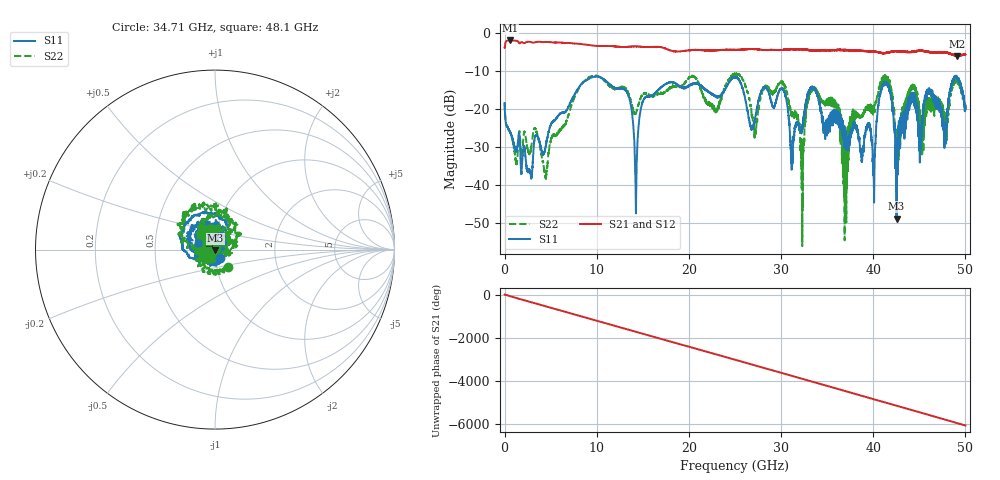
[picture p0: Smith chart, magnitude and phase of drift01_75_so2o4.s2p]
!Created with skrf (http://scikit-rf.org).
# Hz S RI R 50.0
!freq ReS11 ImS11 ReS21 ImS21 ReS12 ImS12 ReS22 ImS22
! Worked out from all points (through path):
!   10001 points, 300 kHz to 50 GHz, reference 50 ohm
!   highest |S21| = -2.00 dB at 570.3 MHz (marker M1); lowest = -6.0 dB at 49.1 GHz (marker M2)
!   group delay of S21, straight-line fit = 336 ps
!   lowest |S11| = -48.7 dB at 42.53 GHz (marker M3), VSWR 1.01, Z = 50.1 - j0.354 ohm
!   |S11| at or under -10 dB: start of sweep to end of sweep
!   |S22| runs from -56.0 to -10.6 dB; largest |S21 - S12| = 0.019
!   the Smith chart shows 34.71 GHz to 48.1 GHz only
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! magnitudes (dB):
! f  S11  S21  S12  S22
! 300 kHz  -18.5  -4.0  -4.0  -18.2
! 570.3 MHz  -25.9  -2.0  -2.0  -26.0
! 4.445 GHz  -29.9  -2.4  -2.4  -38.0
! 8.335 GHz  -13.5  -2.9  -3.0  -13.5
! 13.17 GHz  -15.2  -3.7  -3.7  -14.6
! 14.25 GHz  -47.4  -3.6  -3.5  -21.1
! 14.98 GHz  -18.1  -3.7  -3.7  -16.1
! 16.67 GHz  -14.9  -3.7  -3.7  -15.9
! 25 GHz  -11.5  -4.5  -4.5  -10.9
! 27.18 GHz  -22.2  -4.3  -4.3  -25.8
! 30.22 GHz  -14.8  -4.5  -4.5  -13.5
! 31.18 GHz  -34.1  -4.3  -4.3  -20.8
! 32.28 GHz  -25.3  -4.3  -4.3  -53.6
! 33.34 GHz  -14.2  -4.6  -4.6  -15.0
! 36.99 GHz  -30.3  -4.5  -4.4  -31.7
! 40.05 GHz  -37.1  -4.9  -4.9  -19.7
! 41.67 GHz  -13.8  -5.1  -5.1  -13.6
! 42.53 GHz  -48.7  -4.8  -4.8  -34.2
! 44.13 GHz  -16.2  -5.0  -5.0  -14.2
! 47.75 GHz  -28.8  -5.1  -5.1  -22.5
! 49.1 GHz  -11.6  -6.0  -5.9  -13.0
! 50 GHz  -19.7  -5.7  -5.7  -19.3
